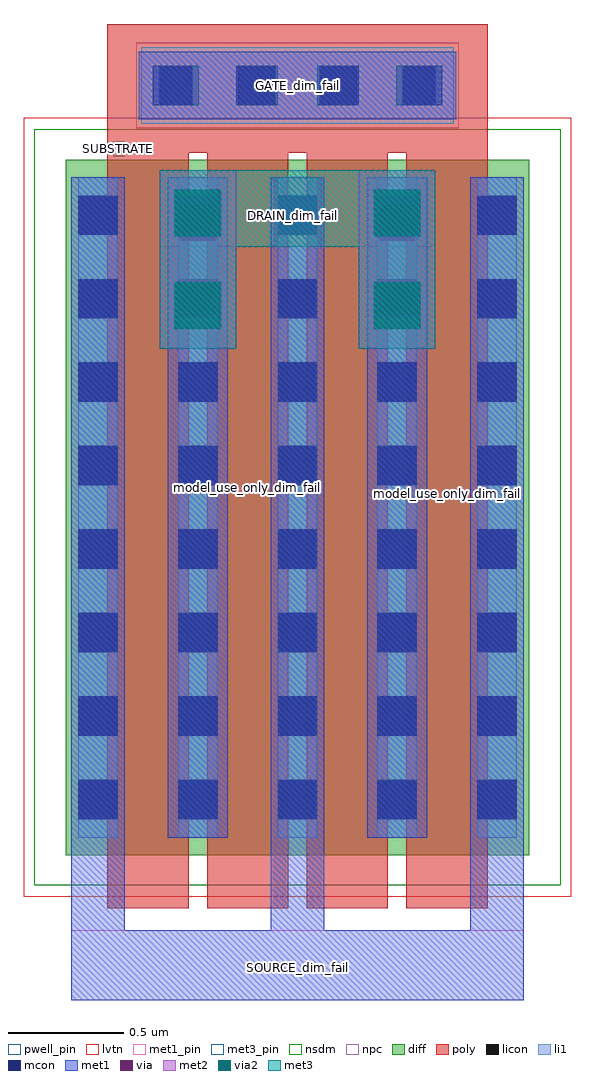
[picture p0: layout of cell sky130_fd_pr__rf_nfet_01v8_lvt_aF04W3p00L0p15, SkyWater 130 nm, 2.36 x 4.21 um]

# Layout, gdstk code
import gdstk
lib = gdstk.Library(unit=1e-6, precision=1e-09)
def R(c, l, rs):  # rectangles x0, y0, x1, y1
    for r in rs: c.add(gdstk.rectangle(r[:2], r[2:], *l))
def A(c, l, x, y, w, h, nx, ny, dx, dy):  # array of equal rectangles
    R(c, l, [(x+i*dx, y+j*dy, x+i*dx+w, y+j*dy+h) for i in range(nx) for j in range(ny)])
def P(c, l, *ps):  # polygons
    for p in ps: c.add(gdstk.Polygon(p, *l))
diff = (65, 20)
poly = (66, 20)
licon = (66, 44)
li1 = (67, 20)
mcon = (67, 44)
met1_pin = (68, 16)
met1 = (68, 20)
via = (68, 44)
met2 = (69, 20)
via2 = (69, 44)
met3_pin = (70, 16)
met3 = (70, 20)
nsdm = (93, 44)
npc = (95, 20)
pwell_pin = (122, 16)
lvtn = (125, 44)

sky130_fd_pr__rf_nfet_01 = lib.new_cell('sky130_fd_pr__rf_nfet_01v8_lvt_aF04W3p00L0p15')
A(sky130_fd_pr__rf_nfet_01, diff, 0.18, 0.18, 0.28, 3, 5, 1, 0.43, 0)
A(sky130_fd_pr__rf_nfet_01, diff, 0.46, 0.18, 0.15, 3, 4, 1, 0.43, 0)
R(sky130_fd_pr__rf_nfet_01, diff, [(0.21,0.18,0.46,3.18), (1.9,0.18,2.15,3.18)])
P(sky130_fd_pr__rf_nfet_01, poly, [(0.36,-0.05),(0.36,3.765),(2,3.765),(2,-0.05),(1.65,-0.05),(1.65,3.21),(1.57,3.21),(1.57,-0.05),(1.22,-0.05),(1.22,3.21),(1.14,3.21),(1.14,-0.05),(0.79,-0.05),(0.79,3.21),(0.71,3.21),(0.71,-0.05)])
A(sky130_fd_pr__rf_nfet_01, licon, 0.235, 0.335, 0.17, 0.17, 5, 8, 0.43, 0.36)
A(sky130_fd_pr__rf_nfet_01, licon, 0.585, 3.415, 0.17, 0.17, 4, 1, 0.34, 0)
A(sky130_fd_pr__rf_nfet_01, li1, 0.235, 0.255, 0.17, 2.85, 5, 1, 0.43, 0)
R(sky130_fd_pr__rf_nfet_01, li1, [(0.505,3.335,1.855,3.665), (0.555,3.415,1.805,3.585)])
A(sky130_fd_pr__rf_nfet_01, mcon, 0.235, 0.335, 0.17, 0.17, 5, 8, 0.43, 0.36)
A(sky130_fd_pr__rf_nfet_01, mcon, 0.555, 3.415, 0.17, 0.17, 4, 1, 0.36, 0)
R(sky130_fd_pr__rf_nfet_01, met1_pin, [(0.205,-0.445,2.155,-0.145), (0.495,3.355,1.865,3.645)])
R(sky130_fd_pr__rf_nfet_01, met1, [(0.62,2.42,0.88,3.07), (1.48,2.42,1.74,3.07), (0.495,3.355,1.865,3.645)])
R(sky130_fd_pr__rf_nfet_01, via, [(0.675,2.51,0.825,2.66), (1.535,2.51,1.685,2.66), (0.675,2.83,0.825,2.98), (1.535,2.83,1.685,2.98)])
R(sky130_fd_pr__rf_nfet_01, met2, [(0.585,2.365,0.915,3.135), (1.445,2.365,1.775,3.135), (0.62,2.425,0.88,3.065), (1.48,2.425,1.74,3.065)])
R(sky130_fd_pr__rf_nfet_01, via2, [(0.65,2.45,0.85,2.65), (1.51,2.45,1.71,2.65), (0.65,2.85,0.85,3.05), (1.51,2.85,1.71,3.05)])
R(sky130_fd_pr__rf_nfet_01, met3_pin, [(0.585,2.805,1.775,3.135)])
R(sky130_fd_pr__rf_nfet_01, met3, [(0.585,2.365,0.915,3.135), (1.445,2.365,1.775,3.135)])
A(sky130_fd_pr__rf_nfet_01, nsdm, 0.21, 0.05, 0.4, 3.26, 3, 1, 0.43, 0)
A(sky130_fd_pr__rf_nfet_01, nsdm, 0.48, 0.05, 0.54, 3.26, 3, 1, 0.43, 0)
R(sky130_fd_pr__rf_nfet_01, nsdm, [(0.045,0.05,0.59,3.31), (1.5,0.05,2.15,3.31), (1.77,0.05,2.315,3.31)])
R(sky130_fd_pr__rf_nfet_01, npc, [(0.485,3.315,1.875,3.685)])
R(sky130_fd_pr__rf_nfet_01, pwell_pin, [(0.385,3.195,0.435,3.26)])
R(sky130_fd_pr__rf_nfet_01, lvtn, [(0,0,2.36,3.36)])
sky130_fd_pr__rf_nfet_01.add(gdstk.FlexPath([(0.585,2.97),(1.775,2.97)], 0.33, ends="flush", simple_path=True, layer=70, datatype=20))  # met3
sky130_fd_pr__rf_nfet_01.add(gdstk.FlexPath([(0.205,-0.295),(2.155,-0.295)], 0.3, ends="flush", simple_path=True, layer=68, datatype=20))  # met1
sky130_fd_pr__rf_nfet_01.add(gdstk.FlexPath([(1.61,3.105),(1.61,0.255)], 0.26, ends="flush", simple_path=True, layer=68, datatype=20))  # met1
sky130_fd_pr__rf_nfet_01.add(gdstk.FlexPath([(0.75,3.105),(0.75,0.255)], 0.26, ends="flush", simple_path=True, layer=68, datatype=20))  # met1
sky130_fd_pr__rf_nfet_01.add(gdstk.FlexPath([(2.04,3.105),(2.04,-0.445)], 0.23, ends="flush", simple_path=True, layer=68, datatype=20))  # met1
sky130_fd_pr__rf_nfet_01.add(gdstk.FlexPath([(1.18,3.105),(1.18,-0.445)], 0.23, ends="flush", simple_path=True, layer=68, datatype=20))  # met1
sky130_fd_pr__rf_nfet_01.add(gdstk.FlexPath([(0.32,3.105),(0.32,-0.445)], 0.23, ends="flush", simple_path=True, layer=68, datatype=20))  # met1
sky130_fd_pr__rf_nfet_01.add(gdstk.Label('model_use_only_dim_fail', (0.965,1.765), layer=66, texttype=83))
sky130_fd_pr__rf_nfet_01.add(gdstk.Label('model_use_only_dim_fail', (0.53,1.745), layer=66, texttype=83))
sky130_fd_pr__rf_nfet_01.add(gdstk.Label('model_use_only_dim_fail', (1.39,1.74), layer=66, texttype=83))
sky130_fd_pr__rf_nfet_01.add(gdstk.Label('model_use_only_dim_fail', (1.825,1.74), layer=66, texttype=83))
sky130_fd_pr__rf_nfet_01.add(gdstk.Label('DRAIN_dim_fail', (1.16,2.94), layer=70, texttype=16))
sky130_fd_pr__rf_nfet_01.add(gdstk.Label('SOURCE_dim_fail', (1.18,-0.305), layer=68, texttype=16))
sky130_fd_pr__rf_nfet_01.add(gdstk.Label('GATE_dim_fail', (1.18,3.5), layer=68, texttype=16))
sky130_fd_pr__rf_nfet_01.add(gdstk.Label('SUBSTRATE', (0.41,3.23), layer=64, texttype=59))

lib.write_gds('sky130_fd_pr__rf_nfet_01v8_lvt_aF04W3p00L0p15.gds')
